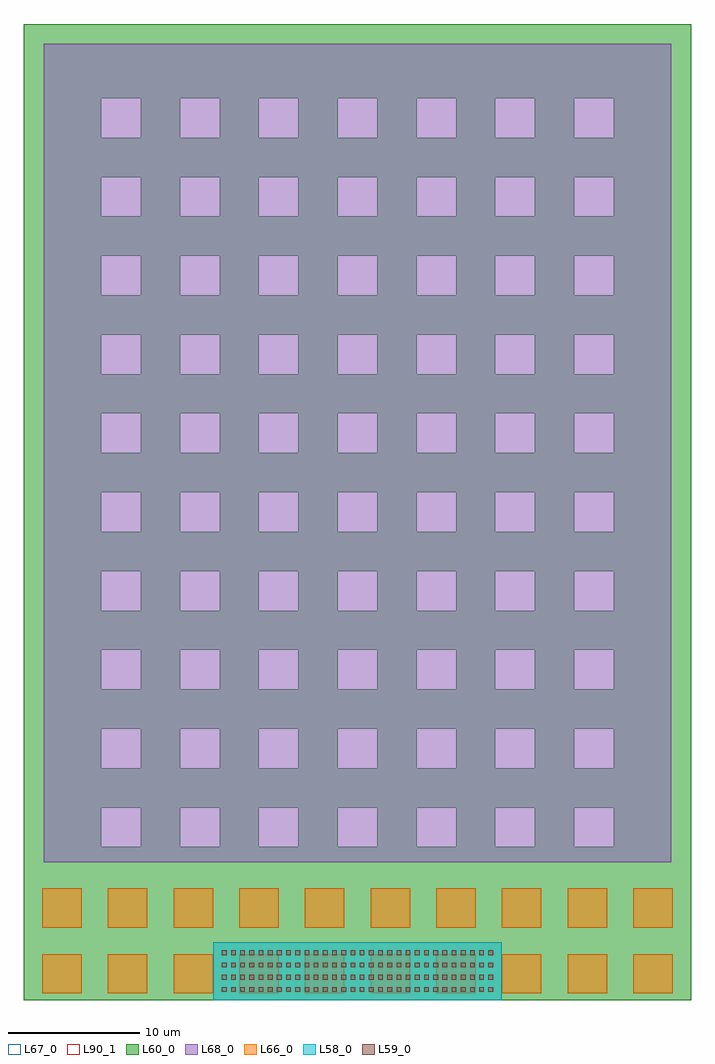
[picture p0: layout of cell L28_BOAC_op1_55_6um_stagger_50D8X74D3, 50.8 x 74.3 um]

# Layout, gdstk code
import gdstk
lib = gdstk.Library(unit=1e-6, precision=1e-09)
def R(c, l, rs):  # rectangles x0, y0, x1, y1
    for r in rs: c.add(gdstk.rectangle(r[:2], r[2:], *l))
def A(c, l, x, y, w, h, nx, ny, dx, dy):  # array of equal rectangles
    R(c, l, [(x+i*dx, y+j*dy, x+i*dx+w, y+j*dy+h) for i in range(nx) for j in range(ny)])
def P(c, l, *ps):  # polygons
    for p in ps: c.add(gdstk.Polygon(p, *l))
L58_0 = (58, 0)
L59_0 = (59, 0)
L60_0 = (60, 0)
L66_0 = (66, 0)
L67_0 = (67, 0)
L68_0 = (68, 0)
L90_1 = (90, 1)

al_m8_cdns_721457251230 = lib.new_cell('AL_M8_CDNS_721457251230')
R(al_m8_cdns_721457251230, L60_0, [(-25.25,-4.35,25.25,4.35)])
A(al_m8_cdns_721457251230, L66_0, -24, -4, 3, 3, 10, 2, 5, 5)
R(al_m8_cdns_721457251230, L67_0, [(-25.4,-4.5,25.4,4.5)])

m8_m7_cdns_721457251231 = lib.new_cell('M8_M7_CDNS_721457251231')
R(m8_m7_cdns_721457251231, L58_0, [(-10.65,-1.735,10.65,1.735)])
A(m8_m7_cdns_721457251231, L59_0, -10.33, -1.575, 0.36, 0.36, 30, 4, 0.7, 0.93)
R(m8_m7_cdns_721457251231, L60_0, [(-10.65,-1.735,10.65,1.735)])

l28_boac_op1_55_6um_stag = lib.new_cell('L28_BOAC_op1_55_6um_stagger_50D8X74D3')
R(l28_boac_op1_55_6um_stag, L58_0, [(14.4,0,36.4,4.4)])
P(l28_boac_op1_55_6um_stag, L60_0, [(50.8,37.15),(44.9,37.15),(44.9,11.65),(41.9,11.65),(41.9,14.65),(44.9,14.65),(44.9,17.65),(41.9,17.65),(41.9,20.65),(44.9,20.65),(44.9,23.65),(41.9,23.65),(41.9,26.65),(44.9,26.65),(44.9,29.65),(41.9,29.65),(41.9,32.65),(44.9,32.65),(44.9,35.65),(41.9,35.65),(41.9,37.15),(38.9,37.15),(38.9,11.65),(35.9,11.65),(35.9,14.65),(38.9,14.65),(38.9,17.65),(35.9,17.65),(35.9,20.65),(38.9,20.65),(38.9,23.65),(35.9,23.65),(35.9,26.65),(38.9,26.65),(38.9,29.65),(35.9,29.65),(35.9,32.65),(38.9,32.65),(38.9,35.65),(35.9,35.65),(35.9,37.15),(32.9,37.15),(32.9,11.65),(29.9,11.65),(29.9,14.65),(32.9,14.65),(32.9,17.65),(29.9,17.65),(29.9,20.65),(32.9,20.65),(32.9,23.65),(29.9,23.65),(29.9,26.65),(32.9,26.65),(32.9,29.65),(29.9,29.65),(29.9,32.65),(32.9,32.65),(32.9,35.65),(29.9,35.65),(29.9,37.15),(26.9,37.15),(26.9,11.65),(23.9,11.65),(23.9,14.65),(26.9,14.65),(26.9,17.65),(23.9,17.65),(23.9,20.65),(26.9,20.65),(26.9,23.65),(23.9,23.65),(23.9,26.65),(26.9,26.65),(26.9,29.65),(23.9,29.65),(23.9,32.65),(26.9,32.65),(26.9,35.65),(23.9,35.65),(23.9,37.15),(20.9,37.15),(20.9,11.65),(17.9,11.65),(17.9,14.65),(20.9,14.65),(20.9,17.65),(17.9,17.65),(17.9,20.65),(20.9,20.65),(20.9,23.65),(17.9,23.65),(17.9,26.65),(20.9,26.65),(20.9,29.65),(17.9,29.65),(17.9,32.65),(20.9,32.65),(20.9,35.65),(17.9,35.65),(17.9,37.15),(14.9,37.15),(14.9,11.65),(11.9,11.65),(11.9,14.65),(14.9,14.65),(14.9,17.65),(11.9,17.65),(11.9,20.65),(14.9,20.65),(14.9,23.65),(11.9,23.65),(11.9,26.65),(14.9,26.65),(14.9,29.65),(11.9,29.65),(11.9,32.65),(14.9,32.65),(14.9,35.65),(11.9,35.65),(11.9,37.15),(8.9,37.15),(8.9,11.65),(5.9,11.65),(5.9,14.65),(8.9,14.65),(8.9,17.65),(5.9,17.65),(5.9,20.65),(8.9,20.65),(8.9,23.65),(5.9,23.65),(5.9,26.65),(8.9,26.65),(8.9,29.65),(5.9,29.65),(5.9,32.65),(8.9,32.65),(8.9,35.65),(5.9,35.65),(5.9,37.15),(0,37.15),(0,0),(50.8,0)],
  [(50.8,74.3),(44.9,74.3),(44.9,41.65),(41.9,41.65),(41.9,44.65),(44.9,44.65),(44.9,47.65),(41.9,47.65),(41.9,50.65),(44.9,50.65),(44.9,53.65),(41.9,53.65),(41.9,56.65),(44.9,56.65),(44.9,59.65),(41.9,59.65),(41.9,62.65),(44.9,62.65),(44.9,65.65),(41.9,65.65),(41.9,68.65),(44.9,68.65),(44.9,74.3),(38.9,74.3),(38.9,41.65),(35.9,41.65),(35.9,44.65),(38.9,44.65),(38.9,47.65),(35.9,47.65),(35.9,50.65),(38.9,50.65),(38.9,53.65),(35.9,53.65),(35.9,56.65),(38.9,56.65),(38.9,59.65),(35.9,59.65),(35.9,62.65),(38.9,62.65),(38.9,65.65),(35.9,65.65),(35.9,68.65),(38.9,68.65),(38.9,74.3),(32.9,74.3),(32.9,41.65),(29.9,41.65),(29.9,44.65),(32.9,44.65),(32.9,47.65),(29.9,47.65),(29.9,50.65),(32.9,50.65),(32.9,53.65),(29.9,53.65),(29.9,56.65),(32.9,56.65),(32.9,59.65),(29.9,59.65),(29.9,62.65),(32.9,62.65),(32.9,65.65),(29.9,65.65),(29.9,68.65),(32.9,68.65),(32.9,74.3),(26.9,74.3),(26.9,41.65),(23.9,41.65),(23.9,44.65),(26.9,44.65),(26.9,47.65),(23.9,47.65),(23.9,50.65),(26.9,50.65),(26.9,53.65),(23.9,53.65),(23.9,56.65),(26.9,56.65),(26.9,59.65),(23.9,59.65),(23.9,62.65),(26.9,62.65),(26.9,65.65),(23.9,65.65),(23.9,68.65),(26.9,68.65),(26.9,74.3),(20.9,74.3),(20.9,41.65),(17.9,41.65),(17.9,44.65),(20.9,44.65),(20.9,47.65),(17.9,47.65),(17.9,50.65),(20.9,50.65),(20.9,53.65),(17.9,53.65),(17.9,56.65),(20.9,56.65),(20.9,59.65),(17.9,59.65),(17.9,62.65),(20.9,62.65),(20.9,65.65),(17.9,65.65),(17.9,68.65),(20.9,68.65),(20.9,74.3),(14.9,74.3),(14.9,41.65),(11.9,41.65),(11.9,44.65),(14.9,44.65),(14.9,47.65),(11.9,47.65),(11.9,50.65),(14.9,50.65),(14.9,53.65),(11.9,53.65),(11.9,56.65),(14.9,56.65),(14.9,59.65),(11.9,59.65),(11.9,62.65),(14.9,62.65),(14.9,65.65),(11.9,65.65),(11.9,68.65),(14.9,68.65),(14.9,74.3),(8.9,74.3),(8.9,41.65),(5.9,41.65),(5.9,44.65),(8.9,44.65),(8.9,47.65),(5.9,47.65),(5.9,50.65),(8.9,50.65),(8.9,53.65),(5.9,53.65),(5.9,56.65),(8.9,56.65),(8.9,59.65),(5.9,59.65),(5.9,62.65),(8.9,62.65),(8.9,65.65),(5.9,65.65),(5.9,68.65),(8.9,68.65),(8.9,74.3),(0,74.3),(0,37.15),(5.9,37.15),(5.9,38.65),(8.9,38.65),(8.9,37.15),(11.9,37.15),(11.9,38.65),(14.9,38.65),(14.9,37.15),(17.9,37.15),(17.9,38.65),(20.9,38.65),(20.9,37.15),(23.9,37.15),(23.9,38.65),(26.9,38.65),(26.9,37.15),(29.9,37.15),(29.9,38.65),(32.9,38.65),(32.9,37.15),(35.9,37.15),(35.9,38.65),(38.9,38.65),(38.9,37.15),(41.9,37.15),(41.9,38.65),(44.9,38.65),(44.9,37.15),(50.8,37.15)])
R(l28_boac_op1_55_6um_stag, L67_0, [(0,0,50.8,74.3)])
R(l28_boac_op1_55_6um_stag, L68_0, [(1.5,10.5,49.3,72.8)])
R(l28_boac_op1_55_6um_stag, L90_1, [(0,0,50.8,74.3)])
l28_boac_op1_55_6um_stag.add(gdstk.Reference(al_m8_cdns_721457251230, (25.4,4.5)))
l28_boac_op1_55_6um_stag.add(gdstk.Reference(m8_m7_cdns_721457251231, (25.4,2.2)))

lib.write_gds('L28_BOAC_op1_55_6um_stagger_50D8X74D3.gds')
